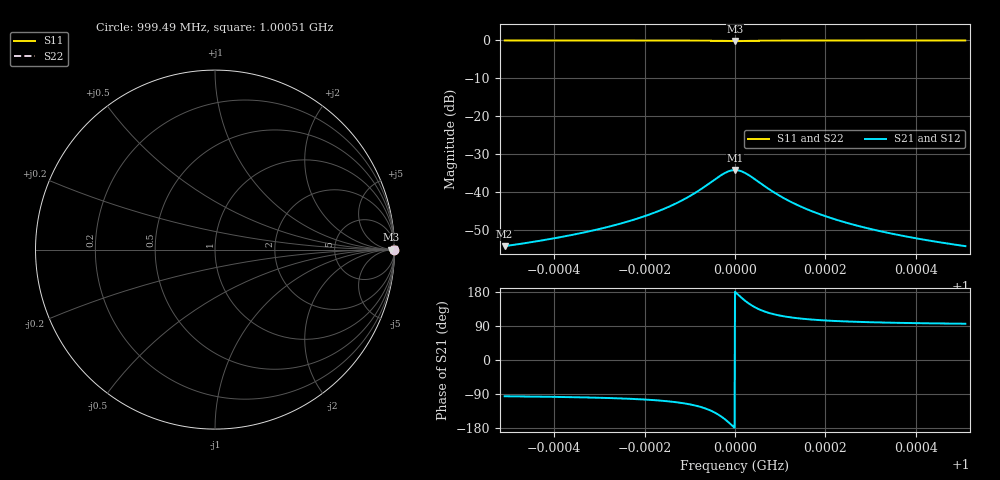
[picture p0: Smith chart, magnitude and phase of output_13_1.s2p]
! File generated for n1 = 13, n2 = 1
! b1 = 0.010000
! b2 = 0.010000
! Q0 = 10000.000000
! f0 = 1000000000.000000
! n = 1001
! rel_span = 10.000000
# Hz S RI R 50
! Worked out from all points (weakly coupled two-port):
!   1001 points, 999.49 MHz to 1.00051 GHz, reference 50 ohm
!   highest |S21| = -34.15 dB at 1 GHz (marker M1); lowest = -54.2 dB at 999.49 MHz (marker M2)
!   lowest |S11| = -0.2 dB at 1 GHz (marker M3), VSWR 101.00, Z = 5.05e+03 + j0 ohm
!   |S11| at or under -10 dB: nowhere
!   |S22| runs from -0.2 to 0.0 dB; largest |S21 - S12| = 0
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9.9949e8  0.9998 -0.00194  -0.000194 -0.00194  -0.000194 -0.00194  0.9998 -0.00194
9.995777e8  0.9997 -0.00233  -0.000282 -0.00233  -0.000282 -0.00233  0.9997 -0.00233
9.996603e8  0.9996 -0.00288  -0.000432 -0.00288  -0.000432 -0.00288  0.9996 -0.00288
9.997542e8  0.9992 -0.0039  -0.000809 -0.0039  -0.000809 -0.0039  0.9992 -0.0039
9.99794e8  0.9989 -0.00457  -0.00113 -0.00457  -0.00113 -0.00457  0.9989 -0.00457
9.998307e8  0.9984 -0.00541  -0.00163 -0.00541  -0.00163 -0.00541  0.9984 -0.00541
9.998664e8  0.9975 -0.00653  -0.00249 -0.00653  -0.00249 -0.00653  0.9975 -0.00653
9.99898e8  0.9961 -0.00784  -0.00392 -0.00784  -0.00392 -0.00784  0.9961 -0.00784
9.999225e8  0.9941 -0.009  -0.00592 -0.009  -0.00592 -0.009  0.9941 -0.009
9.999765e8  0.9838 -0.00744  -0.0162 -0.00744  -0.0162 -0.00744  0.9838 -0.00744
9.999888e8  0.9813 -0.00411  -0.0187 -0.00411  -0.0187 -0.00411  0.9813 -0.00411
1e9  0.9804 0  -0.0196 0  -0.0196 0  0.9804 0
1.000011e9  0.9813 0.00411  -0.0187 0.00411  -0.0187 0.00411  0.9813 0.00411
1.000023e9  0.9838 0.00744  -0.0162 0.00744  -0.0162 0.00744  0.9838 0.00744
1.000078e9  0.9941 0.009  -0.00592 0.009  -0.00592 0.009  0.9941 0.009
1.000102e9  0.9961 0.00784  -0.00392 0.00784  -0.00392 0.00784  0.9961 0.00784
1.000135e9  0.9975 0.0065  -0.00246 0.0065  -0.00246 0.0065  0.9975 0.0065
1.00017e9  0.9984 0.00539  -0.00161 0.00539  -0.00161 0.00539  0.9984 0.00539
1.000247e9  0.9992 0.00389  -0.000803 0.00389  -0.000803 0.00389  0.9992 0.00389
1.000341e9  0.9996 0.00287  -0.00043 0.00287  -0.00043 0.00287  0.9996 0.00287
1.000423e9  0.9997 0.00233  -0.000281 0.00233  -0.000281 0.00233  0.9997 0.00233
1.00051e9  0.9998 0.00194  -0.000194 0.00194  -0.000194 0.00194  0.9998 0.00194
